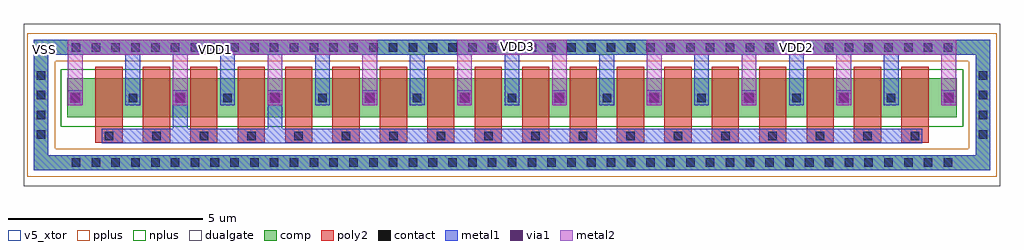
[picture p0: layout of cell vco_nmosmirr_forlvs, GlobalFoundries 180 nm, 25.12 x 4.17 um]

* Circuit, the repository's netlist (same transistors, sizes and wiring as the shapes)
** sch_path: /foss/designs/SSCS-Chipathon-2025_AC3E-Chile-team/xschem/vco/vco_nmosmirr_forlvs.sch
.subckt vco_nmosmirr_forlvs VSS VDD1 VDD2 VDD3
*.PININFO VSS:B VDD1:B VDD2:B VDD3:B
MN2 VDD1 VDD1 VSS VSS nfet_05v0 L=0.70u W=7u nf=7 m=1
MN3 VDD2 VDD1 VSS VSS nfet_05v0 L=0.70u W=7u nf=7 m=1
MN4 VDD3 VDD1 VSS VSS nfet_05v0 L=0.70u W=4u nf=4 m=1
.ends

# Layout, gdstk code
import gdstk
lib = gdstk.Library(unit=1e-6, precision=5e-09)
def R(c, l, rs):  # rectangles x0, y0, x1, y1
    for r in rs: c.add(gdstk.rectangle(r[:2], r[2:], *l))
def A(c, l, x, y, w, h, nx, ny, dx, dy):  # array of equal rectangles
    R(c, l, [(x+i*dx, y+j*dy, x+i*dx+w, y+j*dy+h) for i in range(nx) for j in range(ny)])
def P(c, l, *ps):  # polygons
    for p in ps: c.add(gdstk.Polygon(p, *l))
comp = (22, 0)
poly2 = (30, 0)
pplus = (31, 0)
nplus = (32, 0)
contact = (33, 0)
metal1 = (34, 0)
via1 = (35, 0)
metal2 = (36, 0)
dualgate = (55, 0)
v5_xtor = (112, 1)

nfet = lib.new_cell('nfet')
R(nfet, comp, [(-0.42,0,0,1), (0,0,22.06,1), (22.06,0,22.48,1)])
P(nfet, comp, [(-1.28,-1.36),(-1.28,1.61),(-0.9,1.61),(-0.9,-0.98),(22.96,-0.98),(22.96,1.61),(-1.28,1.61),(-1.28,1.99),(23.34,1.99),(23.34,-1.36)])
A(nfet, poly2, 0.31, -0.66, 0.7, 0.36, 18, 1, 1.22, 0)
A(nfet, poly2, 0.31, -0.3, 0.7, 1.6, 18, 1, 1.22, 0)
P(nfet, pplus, [(-1.45,-1.53),(-1.45,1.44),(-0.73,1.44),(-0.73,-0.81),(22.79,-0.81),(22.79,1.44),(-1.45,1.44),(-1.45,2.16),(23.51,2.16),(23.51,-1.53)])
R(nfet, nplus, [(-0.59,-0.24,22.65,1.24)])
A(nfet, contact, -0.3, -1.28, 0.22, 0.22, 45, 2, 0.51, 2.97)
A(nfet, contact, 0.55, -0.59, 0.22, 0.22, 18, 1, 1.22, 0)
A(nfet, contact, -1.2, -0.56, 0.22, 0.22, 1, 4, 0, 0.51)
A(nfet, contact, 23.04, -0.56, 0.22, 0.22, 1, 4, 0, 0.51)
A(nfet, contact, 1.16, 0.39, 0.22, 0.22, 17, 1, 1.22, 0)
R(nfet, contact, [(-0.32,0.39,-0.1,0.61), (22.16,0.39,22.38,0.61)])
A(nfet, metal1, 0.47, -0.67, 0.38, 0.38, 18, 1, 1.22, 0)
A(nfet, metal1, 1.08, 0.31, 0.38, 0.38, 17, 1, 1.22, 0)
R(nfet, metal1, [(-0.4,0.31,-0.02,0.69), (22.08,0.31,22.46,0.69)])
R(nfet, dualgate, [(-1.53,-1.77,23.59,2.4), (-1.53,-1.61,23.59,2.24)])
R(nfet, v5_xtor, [(-1.53,-1.77,23.59,2.4), (-1.53,-1.61,23.59,2.24)])

vco_nmosmirr_forlvs = lib.new_cell('vco_nmosmirr_forlvs')
A(vco_nmosmirr_forlvs, metal1, 0.665, 0.2, 0.38, 1.3, 9, 1, 2.44, 0)
R(vco_nmosmirr_forlvs, metal1, [(-1.695,-1.47,22.925,-1.09), (-1.695,-1.09,-1.315,1.5), (22.545,-1.09,22.925,1.5), (0.055,-0.78,21.175,-0.4), (1.885,-0.78,2.265,0.52), (4.325,-0.78,4.705,0.52), (-1.695,1.5,22.925,1.88)])
A(vco_nmosmirr_forlvs, via1, 1.945, 0.26, 0.26, 0.26, 8, 1, 2.44, 0)
R(vco_nmosmirr_forlvs, via1, [(-0.755,0.26,-0.495,0.52), (21.725,0.26,21.985,0.52)])
A(vco_nmosmirr_forlvs, metal2, 1.885, 0.2, 0.38, 1.68, 8, 1, 2.44, 0)
R(vco_nmosmirr_forlvs, metal2, [(-0.815,0.2,-0.435,1.88), (21.665,0.2,22.045,1.88), (-0.815,1.5,7.145,1.88), (9.205,1.5,12.025,1.88), (14.085,1.5,22.045,1.88)])
vco_nmosmirr_forlvs.add(gdstk.Reference(nfet, (-0.415,-0.11)))
vco_nmosmirr_forlvs.add(gdstk.Label('VSS', (-1.42,1.63), layer=34, texttype=10))
vco_nmosmirr_forlvs.add(gdstk.Label('VDD1', (2.995,1.64), layer=42, texttype=10))
vco_nmosmirr_forlvs.add(gdstk.Label('VDD2', (17.95,1.675), layer=42, texttype=10))
vco_nmosmirr_forlvs.add(gdstk.Label('VDD3', (10.745,1.715), layer=42, texttype=10))

lib.write_gds('vco_nmosmirr_forlvs.gds')
